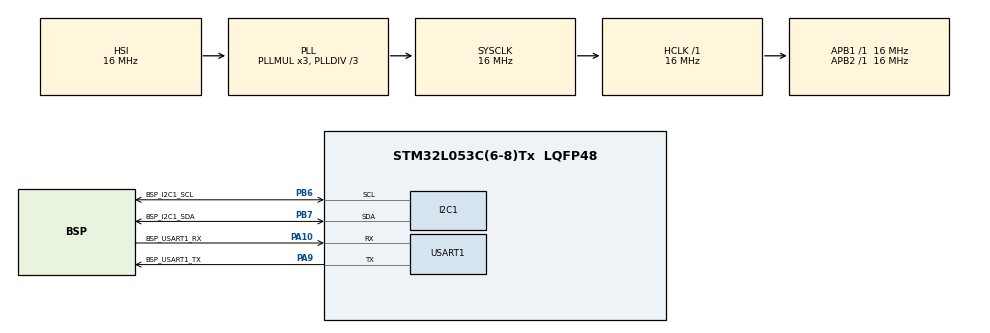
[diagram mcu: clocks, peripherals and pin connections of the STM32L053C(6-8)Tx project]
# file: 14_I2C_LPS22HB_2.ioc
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I2C1.Timing=0x00303D5B
Mcu.Family=STM32L0
Mcu.Name=STM32L053C(6-8)Tx
Mcu.Package=LQFP48
PA10.GPIO_Label=BSP_USART1_RX
PA10.Mode=Asynchronous
PA10.Signal=USART1_RX
PA9.GPIO_Label=BSP_USART1_TX
PA9.Mode=Asynchronous
PA9.Signal=USART1_TX
PB6.GPIO_Label=BSP_I2C1_SCL
PB6.Mode=I2C
PB6.Signal=I2C1_SCL
PB7.GPIO_Label=BSP_I2C1_SDA
PB7.Mode=I2C
PB7.Signal=I2C1_SDA
ProjectManager.HeapSize=0x200
ProjectManager.StackSize=0x400
ProjectManager.TargetToolchain=STM32CubeIDE
RCC.AHBFreq_Value=16000000
RCC.APB1Freq_Value=16000000
RCC.APB1TimFreq_Value=16000000
RCC.APB2Freq_Value=16000000
RCC.APB2TimFreq_Value=16000000
RCC.HCLKFreq_Value=16000000
RCC.HSE_VALUE=8000000
RCC.HSI16_VALUE=16000000
RCC.HSI48MClockSelection=RCC_USBCLKSOURCE_HSI48
RCC.HSI48_VALUE=48000000
RCC.HSI_VALUE=16000000
RCC.LSE_VALUE=32768
RCC.MSI_VALUE=2097000
RCC.PLLDIV=RCC_PLLDIV_3
RCC.RTCClockSelectionVirtual=RCC_RTCCLKSOURCE_LSE
RCC.SYSCLKFreq_VALUE=16000000
RCC.SYSCLKSource=RCC_SYSCLKSOURCE_PLLCLK
RCC.VCOOutputFreq_Value=48000000
USART1.VirtualMode-Asynchronous=VM_ASYNC
board=STM32L0538-DISCO

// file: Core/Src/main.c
/* USER CODE BEGIN Header */
/**
  ******************************************************************************
  * @file           : main.c
  * @brief          : Main program body
  ******************************************************************************
  * @attention
  *
  * Copyright (c) 2024 STMicroelectronics.
  * All rights reserved.
  *
  * This software is licensed under terms that can be found in the LICENSE file
  * in the root directory of this software component.
  * If no LICENSE file comes with this software, it is provided AS-IS.
  *
  ******************************************************************************
  */
/* USER CODE END Header */
#include "main.h"

/* USER CODE BEGIN Includes */
#include<stdio.h>
#include<string.h>
#include"lps22hb_reg.h"
#include "stm32l0xx_hal.h"
/* USER CODE END Includes */

/* USER CODE BEGIN PD */
#define SENSOR_BUS hi2c1
/* USER CODE END PD */

I2C_HandleTypeDef hi2c1;

UART_HandleTypeDef huart1;

/* USER CODE BEGIN PV */
char Buffer[25] = {0};
uint8_t Space[] = " - ";

uint8_t i = 0;
int ret;
/* USER CODE END PV */

void SystemClock_Config(void);
static void MX_GPIO_Init(void);
static void MX_I2C1_Init(void);
static void MX_USART1_UART_Init(void);
/* USER CODE BEGIN PFP */
void i2c_scan(void);
//static int32_t platform_write(void *handle, uint8_t reg, const uint8_t *bufp,
//                              uint16_t len);
//static int32_t platform_read(void *handle, uint8_t reg, uint8_t *bufp,
//                             uint16_t len);
static void tx_com( uint8_t *tx_buffer, uint16_t len );
static void platform_init(void);
/* USER CODE END PFP */

/* USER CODE BEGIN 0 */
static uint32_t data_raw_pressure;
static float pressure_hPa;
static uint8_t whoamI, rst;
static uint8_t tx_buffer[1000];
static stmdev_ctx_t dev_ctx;

static int16_t data_raw_temperature;
static float temperature_degC;

void lps22hb_read_data_polling(void);
void platform_delay(long unsigned int);
/* USER CODE END 0 */

int main(void)
{

  /* MCU Configuration--------------------------------------------------------*/

  /* Reset of all peripherals, Initializes the Flash interface and the Systick. */
  HAL_Init();

  /* Configure the system clock */
  SystemClock_Config();

  /* Initialize all configured peripherals */
  MX_GPIO_Init();
  MX_I2C1_Init();
  MX_USART1_UART_Init();
  /* USER CODE BEGIN 2 */

  i2c_scan();
  /* USER CODE END 2 */

  /* Infinite loop */
  while (1)
  {

    /* USER CODE BEGIN 3 */
	  lps22hb_read_data_polling();
  }
  /* USER CODE END 3 */
}

void SystemClock_Config(void)
{
  RCC_OscInitTypeDef RCC_OscInitStruct = {0};
  RCC_ClkInitTypeDef RCC_ClkInitStruct = {0};
  RCC_PeriphCLKInitTypeDef PeriphClkInit = {0};

  /** Configure the main internal regulator output voltage
  */
  __HAL_PWR_VOLTAGESCALING_CONFIG(PWR_REGULATOR_VOLTAGE_SCALE1);

  /** Initializes the RCC Oscillators according to the specified parameters
  * in the RCC_OscInitTypeDef structure.
  */
  RCC_OscInitStruct.OscillatorType = RCC_OSCILLATORTYPE_HSI;
  RCC_OscInitStruct.HSIState = RCC_HSI_ON;
  RCC_OscInitStruct.HSICalibrationValue = RCC_HSICALIBRATION_DEFAULT;
  RCC_OscInitStruct.PLL.PLLState = RCC_PLL_ON;
  RCC_OscInitStruct.PLL.PLLSource = RCC_PLLSOURCE_HSI;
  RCC_OscInitStruct.PLL.PLLMUL = RCC_PLLMUL_3;
  RCC_OscInitStruct.PLL.PLLDIV = RCC_PLLDIV_3;
  if (HAL_RCC_OscConfig(&RCC_OscInitStruct) != HAL_OK)
  {
    Error_Handler();
  }

  /** Initializes the CPU, AHB and APB buses clocks
  */
  RCC_ClkInitStruct.ClockType = RCC_CLOCKTYPE_HCLK|RCC_CLOCKTYPE_SYSCLK
                              |RCC_CLOCKTYPE_PCLK1|RCC_CLOCKTYPE_PCLK2;
  RCC_ClkInitStruct.SYSCLKSource = RCC_SYSCLKSOURCE_PLLCLK;
  RCC_ClkInitStruct.AHBCLKDivider = RCC_SYSCLK_DIV1;
  RCC_ClkInitStruct.APB1CLKDivider = RCC_HCLK_DIV1;
  RCC_ClkInitStruct.APB2CLKDivider = RCC_HCLK_DIV1;

  if (HAL_RCC_ClockConfig(&RCC_ClkInitStruct, FLASH_LATENCY_0) != HAL_OK)
  {
    Error_Handler();
  }
  PeriphClkInit.PeriphClockSelection = RCC_PERIPHCLK_USART1|RCC_PERIPHCLK_I2C1;
  PeriphClkInit.Usart1ClockSelection = RCC_USART1CLKSOURCE_PCLK2;
  PeriphClkInit.I2c1ClockSelection = RCC_I2C1CLKSOURCE_PCLK1;
  if (HAL_RCCEx_PeriphCLKConfig(&PeriphClkInit) != HAL_OK)
  {
    Error_Handler();
  }
}

static void MX_I2C1_Init(void)
{

  hi2c1.Instance = I2C1;
  hi2c1.Init.Timing = 0x00303D5B;
  hi2c1.Init.OwnAddress1 = 0;
  hi2c1.Init.AddressingMode = I2C_ADDRESSINGMODE_7BIT;
  hi2c1.Init.DualAddressMode = I2C_DUALADDRESS_DISABLE;
  hi2c1.Init.OwnAddress2 = 0;
  hi2c1.Init.OwnAddress2Masks = I2C_OA2_NOMASK;
  hi2c1.Init.GeneralCallMode = I2C_GENERALCALL_DISABLE;
  hi2c1.Init.NoStretchMode = I2C_NOSTRETCH_DISABLE;
  if (HAL_I2C_Init(&hi2c1) != HAL_OK)
  {
    Error_Handler();
  }

  /** Configure Analogue filter
  */
  if (HAL_I2CEx_ConfigAnalogFilter(&hi2c1, I2C_ANALOGFILTER_ENABLE) != HAL_OK)
  {
    Error_Handler();
  }

  /** Configure Digital filter
  */
  if (HAL_I2CEx_ConfigDigitalFilter(&hi2c1, 0) != HAL_OK)
  {
    Error_Handler();
  }

}

static void MX_USART1_UART_Init(void)
{

  huart1.Instance = USART1;
  huart1.Init.BaudRate = 115200;
  huart1.Init.WordLength = UART_WORDLENGTH_8B;
  huart1.Init.StopBits = UART_STOPBITS_1;
  huart1.Init.Parity = UART_PARITY_NONE;
  huart1.Init.Mode = UART_MODE_TX_RX;
  huart1.Init.HwFlowCtl = UART_HWCONTROL_NONE;
  huart1.Init.OverSampling = UART_OVERSAMPLING_16;
  huart1.Init.OneBitSampling = UART_ONE_BIT_SAMPLE_DISABLE;
  huart1.AdvancedInit.AdvFeatureInit = UART_ADVFEATURE_NO_INIT;
  if (HAL_UART_Init(&huart1) != HAL_OK)
  {
    Error_Handler();
  }

}

static void MX_GPIO_Init(void)
{

  /* GPIO Ports Clock Enable */
  __HAL_RCC_GPIOA_CLK_ENABLE();
  __HAL_RCC_GPIOB_CLK_ENABLE();

}

/* USER CODE BEGIN 4 */

void i2c_scan()
{
	for(i=0; i<128; i++)
	{
		   ret = HAL_I2C_IsDeviceReady(&hi2c1, (uint16_t)(i<<1), 3, 5);
		        if (ret != HAL_OK) /* No ACK Received At That Address */
		        {
		            HAL_UART_Transmit(&huart1, Space, sizeof(Space), 10000);
		        }
		        else if(ret == HAL_OK)	/* ACK Received At That Address */
		        {
		            sprintf(Buffer, "0x%X", i);
		            HAL_UART_Transmit(&huart1, (uint8_t *)Buffer, sizeof(Buffer), 10000);
		        }
	}
}

static int32_t platform_write(void *handle, uint8_t reg, const uint8_t *bufp, uint16_t len) {
    HAL_StatusTypeDef status = HAL_I2C_Mem_Write(handle, LPS22HB_I2C_ADD, reg, I2C_MEMADD_SIZE_8BIT, (uint8_t*)bufp, len, 1000);
    return (status == HAL_OK) ? 0 : -1; // Return 0 on success, -1 on failure
}

static int32_t platform_read(void *handle, uint8_t reg, uint8_t *bufp, uint16_t len) {
    HAL_StatusTypeDef status = HAL_I2C_Mem_Read(handle, LPS22HB_I2C_ADD, reg, I2C_MEMADD_SIZE_8BIT, bufp, len, 1000);
    return (status == HAL_OK) ? 0 : -1; // Return 0 on success, -1 on failure
}

static void platform_init(void){
#if defined(STEVAL_MKI109V3)
  TIM3->CCR1 = PWM_3V3;
  TIM3->CCR2 = PWM_3V3;
  HAL_TIM_PWM_Start(&htim3, TIM_CHANNEL_1);
  HAL_TIM_PWM_Start(&htim3, TIM_CHANNEL_2);
  platform_delay(1000);
#endif
}

void lps22hb_read_data_polling(void)
{
  /* Initialize mems driver interface */
  dev_ctx.write_reg = platform_write;
  dev_ctx.read_reg = platform_read;
  dev_ctx.mdelay = platform_delay;
  dev_ctx.handle = &SENSOR_BUS;
  /* Initialize platform specific hardware */
  platform_init();
  /* Check device ID */
  lps22hb_device_id_get(&dev_ctx, &whoamI);

  if (whoamI != LPS22HB_ID) {
    while (1)/* manage here device not found */;
  }

  /* Restore default configuration */
  lps22hb_reset_set(&dev_ctx, PROPERTY_ENABLE);

  do {
    lps22hb_reset_get(&dev_ctx, &rst);
  } while (rst);

  /* Enable Block Data Update */
  //lps22hb_block_data_update_set(&dev_ctx, PROPERTY_ENABLE);
  /* Can be enabled low pass filter on output */
  lps22hb_low_pass_filter_mode_set(&dev_ctx, LPS22HB_LPF_ODR_DIV_2);
  /* Can be set Data-ready signal on INT_DRDY pin */
  //lps22hb_drdy_on_int_set(&dev_ctx, PROPERTY_ENABLE);
  /* Set Output Data Rate */
  lps22hb_data_rate_set(&dev_ctx, LPS22HB_ODR_10_Hz);

  /* Read samples in polling mode (no int) */
  while (1) {
    uint8_t reg;
    /* Read output only if new value is available */
    lps22hb_press_data_ready_get(&dev_ctx, &reg);

    if (reg) {
      memset(&data_raw_pressure, 0x00, sizeof(int32_t));
      lps22hb_pressure_raw_get(&dev_ctx, &data_raw_pressure);
      pressure_hPa = lps22hb_from_lsb_to_hpa(data_raw_pressure);
      sprintf((char *)tx_buffer, "pressure [hPa]:%6.2f\r\n", pressure_hPa);
      tx_com(tx_buffer, strlen((char const *)tx_buffer));
      memset(&data_raw_temperature, 0x00, sizeof(int16_t));
      lps22hb_temperature_raw_get(&dev_ctx, &data_raw_temperature);
      temperature_degC = lps22hb_from_lsb_to_degc(data_raw_temperature);
      sprintf((char *)tx_buffer, "temperature [degC]:%6.2f\r\n",
              temperature_degC);
      tx_com(tx_buffer, strlen((char const *)tx_buffer));
    }
  }
}

static void tx_com(uint8_t *tx_buffer, uint16_t len) {
    HAL_UART_Transmit(&huart1, tx_buffer, len, HAL_MAX_DELAY);
}
void platform_delay(long unsigned int ms) {
    HAL_Delay(ms); // Using HAL_Delay as an example; you may implement your own delay function
}

/* USER CODE END 4 */

void Error_Handler(void)
{
  __disable_irq();
  while (1)
  {
  }
}
